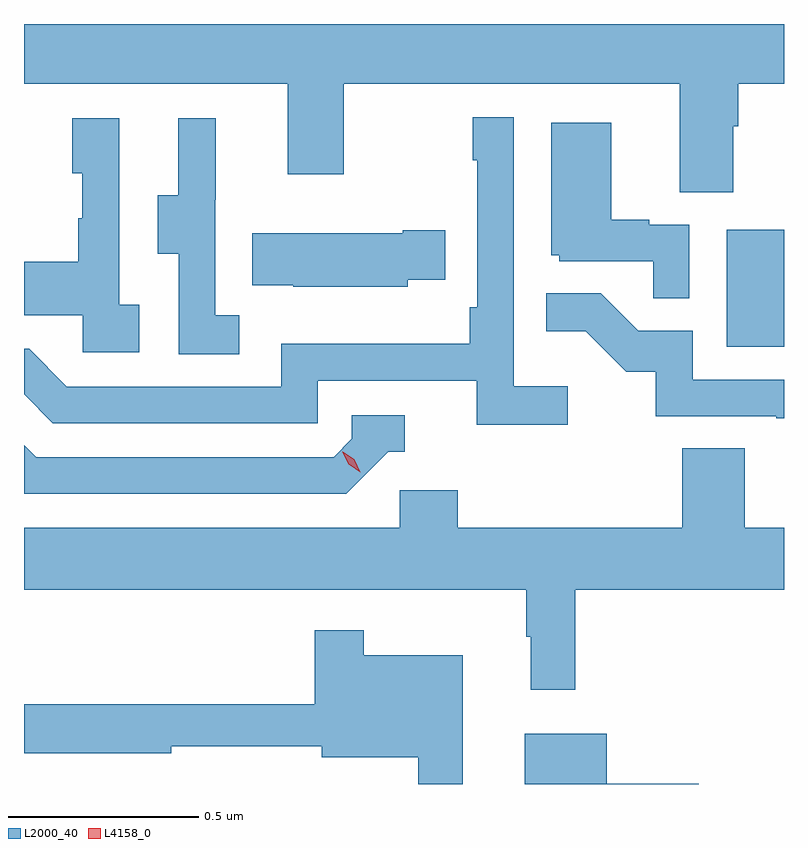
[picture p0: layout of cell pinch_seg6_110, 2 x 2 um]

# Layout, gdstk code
import gdstk
lib = gdstk.Library(unit=1e-6, precision=1e-09)
def R(c, l, rs):  # rectangles x0, y0, x1, y1
    for r in rs: c.add(gdstk.rectangle(r[:2], r[2:], *l))
def P(c, l, *ps):  # polygons
    for p in ps: c.add(gdstk.Polygon(p, *l))
L2000_40 = (2000, 40)
L4158_0 = (4158, 0)

pinch_seg6_110 = lib.new_cell('pinch_seg6_110')
R(pinch_seg6_110, L2000_40, [(894.188,922.668,894.339,922.975)])
P(pinch_seg6_110, L2000_40, [(894.205,923.248),(894.218,923.248),(894.218,923.36),(894.339,923.36),(894.339,923.517),(892.339,923.517),(892.339,923.36),(893.033,923.36),(893.033,923.121),(893.181,923.121),(893.181,923.36),(894.065,923.36),(894.065,923.074),(894.205,923.074)],
  [(893.77,922.564),(893.628,922.564),(893.628,923.272),(893.52,923.272),(893.52,923.159),(893.532,923.159),(893.532,922.771),(893.512,922.771),(893.512,922.675),(893.016,922.675),(893.016,922.563),(892.452,922.563),(892.353,922.662),(892.339,922.662),(892.339,922.543),(892.415,922.467),(893.112,922.467),(893.112,922.578),(893.531,922.578),(893.531,922.462),(893.77,922.462)],
  [(892.906,922.751),(892.842,922.751),(892.842,923.055),(892.844,923.055),(892.844,923.269),(892.745,923.269),(892.745,923.067),(892.691,923.067),(892.691,922.912),(892.746,922.912),(892.746,922.648),(892.906,922.648)],
  [(892.642,922.778),(892.59,922.778),(892.59,923.269),(892.466,923.269),(892.466,923.124),(892.492,923.124),(892.492,923.006),(892.482,923.006),(892.482,922.891),(892.339,922.891),(892.339,922.751),(892.494,922.751),(892.494,922.653),(892.642,922.653)],
  [(894.09,922.989),(893.984,922.989),(893.984,923.002),(893.884,923.002),(893.884,923.257),(893.726,923.257),(893.726,922.908),(893.748,922.908),(893.748,922.893),(893.995,922.893),(893.995,922.795),(894.09,922.795)],
  [(893.349,922.844),(893.447,922.844),(893.447,922.974),(893.336,922.974),(893.336,922.966),(892.939,922.966),(892.939,922.829),(893.047,922.829),(893.047,922.826),(893.349,922.826)],
  [(894.339,922.581),(894.099,922.581),(894.099,922.71),(893.955,922.71),(893.857,922.808),(893.713,922.808),(893.713,922.709),(893.817,922.709),(893.924,922.602),(894.001,922.602),(894.001,922.485),(894.319,922.485),(894.319,922.48),(894.339,922.48)],
  [(893.298,922.392),(893.341,922.392),(893.341,922.488),(893.202,922.488),(893.202,922.425),(893.154,922.377),(892.371,922.377),(892.339,922.409),(892.339,922.281),(893.187,922.281)],
  [(893.789,922.028),(894.339,922.028),(894.339,922.192),(894.236,922.192),(894.236,922.4),(894.071,922.4),(894.071,922.192),(893.48,922.192),(893.48,922.29),(893.328,922.29),(893.328,922.192),(892.339,922.192),(892.339,922.028),(893.661,922.028),(893.661,921.905),(893.672,921.905),(893.672,921.765),(893.789,921.765)],
  [(893.494,921.856),(893.233,921.856),(893.233,921.922),(893.104,921.922),(893.104,921.727),(892.339,921.727),(892.339,921.598),(892.727,921.598),(892.727,921.616),(893.123,921.616),(893.123,921.587),(893.377,921.587),(893.377,921.517),(893.494,921.517)],
  [(894.115,921.518),(893.872,921.518),(893.872,921.649),(893.657,921.649),(893.657,921.517),(894.115,921.517)])
P(pinch_seg6_110, L4158_0, [(893.224,922.337),(893.193,922.358),(893.177,922.391),(893.177,922.391),(893.178,922.391),(893.208,922.371),(893.224,922.338),(893.224,922.337)])

lib.write_gds('pinch_seg6_110.gds')
